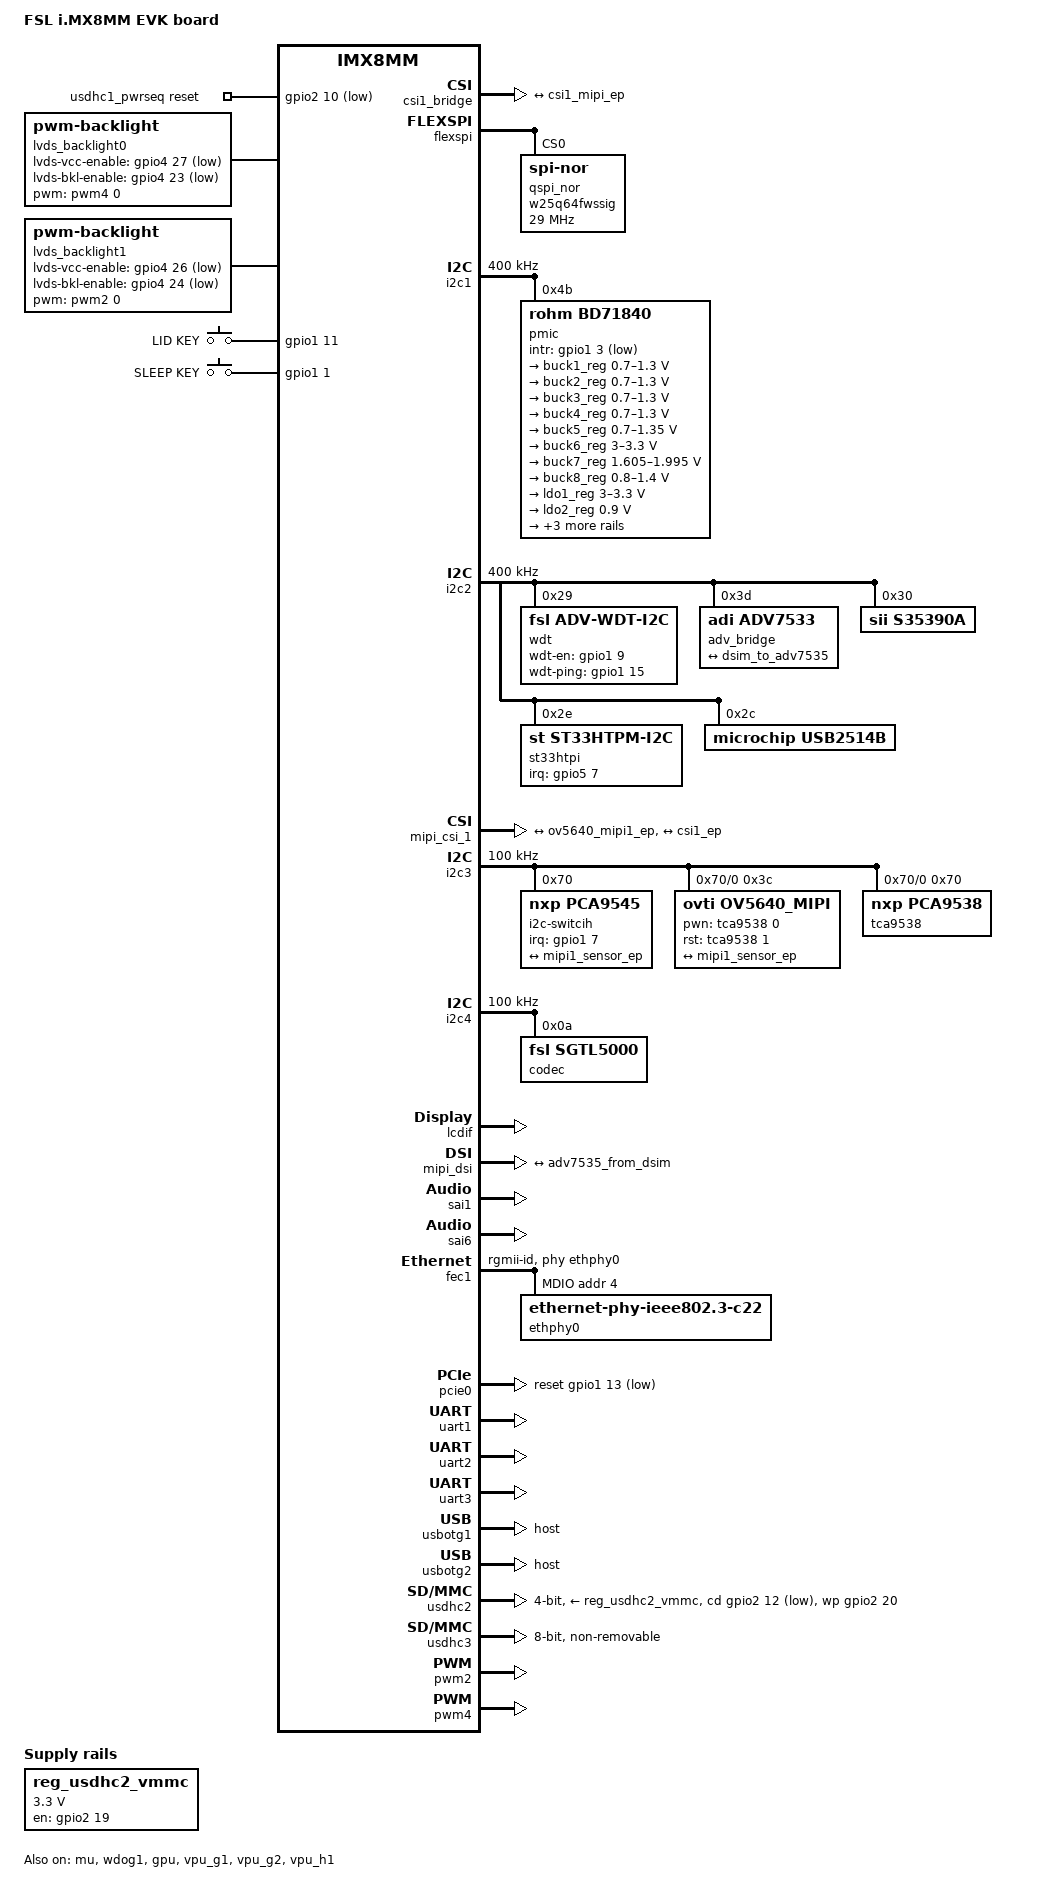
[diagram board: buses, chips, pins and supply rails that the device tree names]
/*
 * Copyright 2018 NXP
 *
 * This program is free software; you can redistribute it and/or
 * modify it under the terms of the GNU General Public License
 * as published by the Free Software Foundation; either version 2
 * of the License, or (at your option) any later version.
 *
 * This program is distributed in the hope that it will be useful,
 * but WITHOUT ANY WARRANTY; without even the implied warranty of
 * MERCHANTABILITY or FITNESS FOR A PARTICULAR PURPOSE.  See the
 * GNU General Public License for more details.
 */

/dts-v1/;

#include "fsl-imx8mm.dtsi"

/ {
	model = "FSL i.MX8MM EVK board";
	compatible = "fsl,imx8mm-evk", "fsl,imx8mm";

	chosen {
		bootargs = "console=ttymxc1,115200 earlycon=ec_imx6q,0x30890000,115200";
		stdout-path = &uart2;
	};

        usdhc1_pwrseq: usdhc1_pwrseq {
                compatible = "mmc-pwrseq-simple";
                pinctrl-names = "default";
                pinctrl-0 = <&pinctrl_usdhc1_gpio>;
                reset-gpios = <&gpio2 10 GPIO_ACTIVE_LOW>;
        };

	lvds_backlight0: lvds_backlight@0 {
                compatible = "pwm-backlight";
                pwms = <&pwm4 0 1000000 0>;
                brightness-levels = < 0  1  2  3  4  5  6  7  8  9
                             10 11 12 13 14 15 16 17 18 19
                             20 21 22 23 24 25 26 27 28 29
                             30 31 32 33 34 35 36 37 38 39
                             40 41 42 43 44 45 46 47 48 49
                             50 51 52 53 54 55 56 57 58 59
                             60 61 62 63 64 65 66 67 68 69
                             70 71 72 73 74 75 76 77 78 79
                             80 81 82 83 84 85 86 87 88 89
                             90 91 92 93 94 95 96 97 98 99
                            100>;
                default-brightness-level = <80>;
        };

	lvds_backlight1: lvds_backlight@1 {
                compatible = "pwm-backlight";
                pwms = <&pwm2 0 1000000 0>;
                brightness-levels = < 0  1  2  3  4  5  6  7  8  9
                             10 11 12 13 14 15 16 17 18 19
                             20 21 22 23 24 25 26 27 28 29
                             30 31 32 33 34 35 36 37 38 39
                             40 41 42 43 44 45 46 47 48 49
                             50 51 52 53 54 55 56 57 58 59
                             60 61 62 63 64 65 66 67 68 69
                             70 71 72 73 74 75 76 77 78 79
                             80 81 82 83 84 85 86 87 88 89
                             90 91 92 93 94 95 96 97 98 99
                            100>;
                default-brightness-level = <80>;
        };
	regulators {
		compatible = "simple-bus";
		#address-cells = <1>;
		#size-cells = <0>;
		reg_usdhc2_vmmc: regulator-usdhc2 {
			compatible = "regulator-fixed";
			regulator-name = "VSD_3V3";
			regulator-min-microvolt = <3300000>;
			regulator-max-microvolt = <3300000>;
			gpio = <&gpio2 19 GPIO_ACTIVE_HIGH>;
			off-on-delay = <20000>;
			enable-active-high;
		};
	};

        gpio-keys {
                compatible = "gpio-keys";
                #address-cells = <1>;
                #size-cells = <0>;
                pinctrl-0 = <&pinctrl_lid_key &pinctrl_sleep_key>;
                pinctrl-names = "default";
                lid@1 {
                        label = "LID KEY";
                        gpios = <&gpio1 11 0>; /* GPIO_ACTIVE_LOW:1 */
                        linux,input-type = <1>; /* EV_KEY */
                        linux,code = <116>;     /* KEY_POWER */
                        wakeup-source;
                };
                sleep@2 {
                        label = "SLEEP KEY";
                        gpios = <&gpio1 1 0>; /* GPIO_ACTIVE_LOW:1 */
                        linux,input-type = <1>; /* EV_KEY */
                        linux,code = <116>;     /* KEY_POWER */
                        wakeup-source;
                };
        };
};

&clk {
	assigned-clocks = <&clk IMX8MM_AUDIO_PLL1>, <&clk IMX8MM_AUDIO_PLL2>;
	assigned-clock-rates = <786432000>, <722534400>;
};

&iomuxc {
	pinctrl-names = "default";

	imx8mm-evk {
                pinctrl_hog: hoggrp {
                        fsl,pins = <
				MX8MM_IOMUXC_GPIO1_IO05_GPIO1_IO5		0x19	/* WDT_TIME_OUT */
				MX8MM_IOMUXC_ECSPI1_SCLK_GPIO5_IO6		0x19	/* CAM1_PWR */
				MX8MM_IOMUXC_GPIO1_IO08_GPIO1_IO8		0x19	/* CAM1_RST */	
				MX8MM_IOMUXC_SPDIF_TX_GPIO5_IO3			0x19	/* GPIO11 */
				MX8MM_IOMUXC_SPDIF_EXT_CLK_GPIO5_IO5		0x19	/* GPIO5 */
				MX8MM_IOMUXC_SAI3_RXFS_GPIO4_IO28		0x19	/* RESET_OUT */	
                        >;
                };

                pinctrl_csi_clk: csi_clk_grp {
                        fsl,pins = <
                                MX8MM_IOMUXC_GPIO1_IO14_CCMSRCGPCMIX_CLKO1      0x59
                        >;
                };
/*
		pinctrl_ir_recv: ir_recv {
			fsl,pins = <
				MX8MM_IOMUXC_GPIO1_IO13_GPIO1_IO13		0x14f
			>;
		};
*/
		pinctrl_mipi_dsi_en: mipi_dsi_en {
			fsl,pins = <
				MX8MM_IOMUXC_GPIO1_IO08_GPIO1_IO8		0x16
			>;
		};
/*
		pinctrl_i2c2_synaptics_dsx_io: synaptics_dsx_iogrp {
			fsl,pins = <
				MX8MM_IOMUXC_GPIO1_IO09_GPIO1_IO9		0x19	
			>;
		};
*/
		pinctrl_fec1: fec1grp {
			fsl,pins = <
				MX8MM_IOMUXC_ENET_MDC_ENET1_MDC		0x3
				MX8MM_IOMUXC_ENET_MDIO_ENET1_MDIO	0x3
				MX8MM_IOMUXC_ENET_TD3_ENET1_RGMII_TD3	0x1f
				MX8MM_IOMUXC_ENET_TD2_ENET1_RGMII_TD2	0x1f
				MX8MM_IOMUXC_ENET_TD1_ENET1_RGMII_TD1	0x1f
				MX8MM_IOMUXC_ENET_TD0_ENET1_RGMII_TD0	0x1f
				MX8MM_IOMUXC_ENET_RD3_ENET1_RGMII_RD3	0x91
				MX8MM_IOMUXC_ENET_RD2_ENET1_RGMII_RD2	0x91
				MX8MM_IOMUXC_ENET_RD1_ENET1_RGMII_RD1	0x91
				MX8MM_IOMUXC_ENET_RD0_ENET1_RGMII_RD0	0x91
				MX8MM_IOMUXC_ENET_TXC_ENET1_RGMII_TXC	0x1f
				MX8MM_IOMUXC_ENET_RXC_ENET1_RGMII_RXC	0x91
				MX8MM_IOMUXC_ENET_RX_CTL_ENET1_RGMII_RX_CTL	0x91
				MX8MM_IOMUXC_ENET_TX_CTL_ENET1_RGMII_TX_CTL	0x1f
				MX8MM_IOMUXC_GPIO1_IO06_GPIO1_IO6		0x19	/* RGMII0_INT# */
			>;
		};

		pinctrl_flexspi0: flexspi0grp {
			fsl,pins = <
				MX8MM_IOMUXC_NAND_ALE_QSPI_A_SCLK		0x1c2
				MX8MM_IOMUXC_NAND_CE0_B_QSPI_A_SS0_B		0x82
				MX8MM_IOMUXC_NAND_DATA00_QSPI_A_DATA0		0x82
				MX8MM_IOMUXC_NAND_DATA01_QSPI_A_DATA1		0x82
				MX8MM_IOMUXC_NAND_DATA02_QSPI_A_DATA2		0x82
				MX8MM_IOMUXC_NAND_DATA03_QSPI_A_DATA3		0x82
			>;
		};
		
		pinctrl_i2c1: i2c1grp {
			fsl,pins = <
				MX8MM_IOMUXC_I2C1_SCL_I2C1_SCL			0x400001c3
				MX8MM_IOMUXC_I2C1_SDA_I2C1_SDA			0x400001c3
			>;
		};

		pinctrl_i2c2: i2c2grp {
			fsl,pins = <
				MX8MM_IOMUXC_I2C2_SCL_I2C2_SCL			0x400001c3
				MX8MM_IOMUXC_I2C2_SDA_I2C2_SDA			0x400001c3
			>;
		};

		pinctrl_i2c3: i2c3grp {
			fsl,pins = <
				MX8MM_IOMUXC_I2C3_SCL_I2C3_SCL			0x400001c3
				MX8MM_IOMUXC_I2C3_SDA_I2C3_SDA			0x400001c3
			>;
		};

		pinctrl_i2c4: i2c4grp {
			fsl,pins = <
				MX8MM_IOMUXC_I2C4_SCL_I2C4_SCL			0x400001c3	/* I2C_GP_CK */
				MX8MM_IOMUXC_I2C4_SDA_I2C4_SDA			0x400001c3	/* I2C_GP_DAT */
			>;
		};

		pinctrl_pcie0: pcie0grp {
			fsl,pins = <
				MX8MM_IOMUXC_SAI5_RXFS_GPIO3_IO19		0x41	/* PCIE_WAKE */
				MX8MM_IOMUXC_GPIO1_IO13_GPIO1_IO13		0x41	/* PCIE_RST */
			>;
		};

		pinctrl_pmic: pmicirq {
			fsl,pins = <
				MX8MM_IOMUXC_GPIO1_IO03_GPIO1_IO3		0x41
			>;
		};
/*
		pinctrl_typec1: typec1grp {
			fsl,pins = <
				MX8MM_IOMUXC_SD1_STROBE_GPIO2_IO11	0x159
			>;
		};

		pinctrl_typec2: typec2grp {
			fsl,pins = <
				MX8MM_IOMUXC_SD2_CD_B_GPIO2_IO12	0x159
			>;
		};
*/
		pinctrl_sai1: sai1grp {
			fsl,pins = <
				MX8MM_IOMUXC_SAI1_TXFS_SAI1_TX_SYNC	0xd6	/* SAI1_LRCK */
				MX8MM_IOMUXC_SAI1_TXC_SAI1_TX_BCLK	0xd6	/* SAI1_CK */
				MX8MM_IOMUXC_SAI1_TXD0_SAI1_TX_DATA0	0xd6	/* SAI1_SDOUT */
				MX8MM_IOMUXC_SAI1_RXD0_SAI1_RX_DATA0	0xd6	/* SAI1_SDIN */
			>;
		};

                pinctrl_sai1_mclk: sai1grp_mclk {
                        fsl,pins = <
				MX8MM_IOMUXC_SAI1_MCLK_SAI1_MCLK	0xd6	/* SAI1_MCLK */
                        >;
                };

		pinctrl_sai6: sai6grp {
			fsl,pins = <
				MX8MM_IOMUXC_SAI1_RXD6_SAI6_TX_SYNC	0xd6	/* SAI6_LRCK */
				MX8MM_IOMUXC_SAI1_RXD4_SAI6_TX_BCLK	0xd6	/* SAI6_CK */
				MX8MM_IOMUXC_SAI1_TXD5_SAI6_TX_DATA0	0xd6	/* SAI6_SDOUT */
				MX8MM_IOMUXC_SAI1_RXD5_SAI6_RX_DATA0	0xd6	/* SAI6_SDIN */
			>;
		};

		pinctrl_uart1: uart1grp {
			fsl,pins = <
				MX8MM_IOMUXC_SAI2_RXFS_UART1_TX 	0x140
				MX8MM_IOMUXC_SAI2_RXC_UART1_RX		0x140
			>;
		};

/*
                pinctrl_uart2: uart2grp {
                        fsl,pins = <
                                MX8MM_IOMUXC_UART2_RXD_UART2_DCE_RX     0x140
                                MX8MM_IOMUXC_UART2_TXD_UART2_DCE_TX     0x140
                        >;
                };
*/
		pinctrl_uart2: uart2grp {
			fsl,pins = <
				MX8MM_IOMUXC_SAI3_RXD_UART2_RTS_B	0x140                                  
				MX8MM_IOMUXC_SAI3_RXC_UART2_CTS_B	0x140                     
				MX8MM_IOMUXC_SAI3_TXC_UART2_TX		0x140
				MX8MM_IOMUXC_SAI3_TXFS_UART2_RX		0x140
			>;
		};

		pinctrl_uart3: uart3grp {
			fsl,pins = <
				MX8MM_IOMUXC_UART3_RXD_UART3_DCE_RX		0x140
				MX8MM_IOMUXC_UART3_TXD_UART3_DCE_TX		0x140
				MX8MM_IOMUXC_ECSPI1_SS0_UART3_DCE_RTS_B		0x140
				MX8MM_IOMUXC_ECSPI1_MISO_UART3_DCE_CTS_B	0x140
			>;
		};

		pinctrl_uart4: uart4grp {
			fsl,pins = <
				MX8MM_IOMUXC_UART4_RXD_UART4_DCE_RX	0x140
				MX8MM_IOMUXC_UART4_TXD_UART4_DCE_TX	0x140
			>;
		};

		pinctrl_usdhc1_gpio: usdhc1grpgpio {
			fsl,pins = <
				MX8MM_IOMUXC_SD1_RESET_B_GPIO2_IO10	0x41	/* WL_REG_ON */
			>;
		};

		pinctrl_usdhc1: usdhc1grp {
			fsl,pins = <
				MX8MM_IOMUXC_SD1_CLK_USDHC1_CLK		0x190
				MX8MM_IOMUXC_SD1_CMD_USDHC1_CMD		0x1d0
				MX8MM_IOMUXC_SD1_DATA0_USDHC1_DATA0	0x1d0
				MX8MM_IOMUXC_SD1_DATA1_USDHC1_DATA1	0x1d0
				MX8MM_IOMUXC_SD1_DATA2_USDHC1_DATA2	0x1d0
				MX8MM_IOMUXC_SD1_DATA3_USDHC1_DATA3	0x1d0
			>;
		};

		pinctrl_usdhc1_100mhz: usdhc1grp100mhz {
			fsl,pins = <
				MX8MM_IOMUXC_SD1_CLK_USDHC1_CLK		0x194
				MX8MM_IOMUXC_SD1_CMD_USDHC1_CMD		0x1d4
				MX8MM_IOMUXC_SD1_DATA0_USDHC1_DATA0	0x1d4
				MX8MM_IOMUXC_SD1_DATA1_USDHC1_DATA1	0x1d4
				MX8MM_IOMUXC_SD1_DATA2_USDHC1_DATA2	0x1d4
				MX8MM_IOMUXC_SD1_DATA3_USDHC1_DATA3	0x1d4
			>;
		};

		pinctrl_usdhc1_200mhz: usdhc1grp200mhz {
			fsl,pins = <
				MX8MM_IOMUXC_SD1_CLK_USDHC1_CLK		0x196
				MX8MM_IOMUXC_SD1_CMD_USDHC1_CMD		0x1d6
				MX8MM_IOMUXC_SD1_DATA0_USDHC1_DATA0	0x1d6
				MX8MM_IOMUXC_SD1_DATA1_USDHC1_DATA1	0x1d6
				MX8MM_IOMUXC_SD1_DATA2_USDHC1_DATA2	0x1d6
				MX8MM_IOMUXC_SD1_DATA3_USDHC1_DATA3	0x1d6
			>;
		};

		pinctrl_usdhc2_gpio: usdhc2grpgpio {
			fsl,pins = <
				MX8MM_IOMUXC_SD2_CD_B_GPIO2_IO12	0x159	/* SD2_CD */
				MX8MM_IOMUXC_SD2_RESET_B_GPIO2_IO19	0x41	/* SD2_PWR_EN_1V8 */
				MX8MM_IOMUXC_SD2_WP_GPIO2_IO20		0x159	/* SD2_WP */
			>;
		};

		pinctrl_usdhc2: usdhc2grp {
			fsl,pins = <
				MX8MM_IOMUXC_SD2_CLK_USDHC2_CLK		0x190
				MX8MM_IOMUXC_SD2_CMD_USDHC2_CMD		0x1d0
				MX8MM_IOMUXC_SD2_DATA0_USDHC2_DATA0	0x1d0
				MX8MM_IOMUXC_SD2_DATA1_USDHC2_DATA1	0x1d0
				MX8MM_IOMUXC_SD2_DATA2_USDHC2_DATA2	0x1d0
				MX8MM_IOMUXC_SD2_DATA3_USDHC2_DATA3	0x1d0
				MX8MM_IOMUXC_GPIO1_IO04_USDHC2_VSELECT	0x1d0
			>;
		};

		pinctrl_usdhc2_100mhz: usdhc2grp100mhz {
			fsl,pins = <
				MX8MM_IOMUXC_SD2_CLK_USDHC2_CLK		0x194
				MX8MM_IOMUXC_SD2_CMD_USDHC2_CMD		0x1d4
				MX8MM_IOMUXC_SD2_DATA0_USDHC2_DATA0	0x1d4
				MX8MM_IOMUXC_SD2_DATA1_USDHC2_DATA1	0x1d4
				MX8MM_IOMUXC_SD2_DATA2_USDHC2_DATA2	0x1d4
				MX8MM_IOMUXC_SD2_DATA3_USDHC2_DATA3	0x1d4
				MX8MM_IOMUXC_GPIO1_IO04_USDHC2_VSELECT	0x1d0
			>;
		};

		pinctrl_usdhc2_200mhz: usdhc2grp200mhz {
			fsl,pins = <
				MX8MM_IOMUXC_SD2_CLK_USDHC2_CLK		0x196
				MX8MM_IOMUXC_SD2_CMD_USDHC2_CMD		0x1d6
				MX8MM_IOMUXC_SD2_DATA0_USDHC2_DATA0	0x1d6
				MX8MM_IOMUXC_SD2_DATA1_USDHC2_DATA1	0x1d6
				MX8MM_IOMUXC_SD2_DATA2_USDHC2_DATA2	0x1d6
				MX8MM_IOMUXC_SD2_DATA3_USDHC2_DATA3	0x1d6
				MX8MM_IOMUXC_GPIO1_IO04_USDHC2_VSELECT	0x1d0
			>;
		};

		pinctrl_usdhc3: usdhc3grp {
			fsl,pins = <
				MX8MM_IOMUXC_NAND_WE_B_USDHC3_CLK		0x190	/* SD3_CLK */
				MX8MM_IOMUXC_NAND_WP_B_USDHC3_CMD		0x1d0	/* SD3_CMD */
				MX8MM_IOMUXC_NAND_DATA04_USDHC3_DATA0		0x1d0	/* SD3_DATA0 */
				MX8MM_IOMUXC_NAND_DATA05_USDHC3_DATA1		0x1d0	/* SD3_DATA1 */
				MX8MM_IOMUXC_NAND_DATA06_USDHC3_DATA2		0x1d0	/* SD3_DATA2 */
				MX8MM_IOMUXC_NAND_DATA07_USDHC3_DATA3		0x1d0	/* SD3_DATA3 */
				MX8MM_IOMUXC_NAND_RE_B_USDHC3_DATA4		0x1d0	/* SD3_DATA4 */
				MX8MM_IOMUXC_NAND_CE2_B_USDHC3_DATA5		0x1d0	/* SD3_DATA5 */
				MX8MM_IOMUXC_NAND_CE3_B_USDHC3_DATA6		0x1d0	/* SD3_DATA6 */
				MX8MM_IOMUXC_NAND_CLE_USDHC3_DATA7		0x1d0	/* SD3_DATA7 */
				MX8MM_IOMUXC_NAND_CE1_B_USDHC3_STROBE 		0x190	/* SD3_STORBE */
			>;
		};

		pinctrl_usdhc3_100mhz: usdhc3grp100mhz {
			fsl,pins = <
				MX8MM_IOMUXC_NAND_WE_B_USDHC3_CLK		0x194
				MX8MM_IOMUXC_NAND_WP_B_USDHC3_CMD		0x1d4
				MX8MM_IOMUXC_NAND_DATA04_USDHC3_DATA0		0x1d4
				MX8MM_IOMUXC_NAND_DATA05_USDHC3_DATA1		0x1d4
				MX8MM_IOMUXC_NAND_DATA06_USDHC3_DATA2		0x1d4
				MX8MM_IOMUXC_NAND_DATA07_USDHC3_DATA3		0x1d4
				MX8MM_IOMUXC_NAND_RE_B_USDHC3_DATA4		0x1d4
				MX8MM_IOMUXC_NAND_CE2_B_USDHC3_DATA5		0x1d4
				MX8MM_IOMUXC_NAND_CE3_B_USDHC3_DATA6		0x1d4
				MX8MM_IOMUXC_NAND_CLE_USDHC3_DATA7		0x1d4
				MX8MM_IOMUXC_NAND_CE1_B_USDHC3_STROBE 		0x194
			>;
		};

		pinctrl_usdhc3_200mhz: usdhc3grp200mhz {
			fsl,pins = <
				MX8MM_IOMUXC_NAND_WE_B_USDHC3_CLK		0x196
				MX8MM_IOMUXC_NAND_WP_B_USDHC3_CMD		0x1d6
				MX8MM_IOMUXC_NAND_DATA04_USDHC3_DATA0		0x1d6
				MX8MM_IOMUXC_NAND_DATA05_USDHC3_DATA1		0x1d6
				MX8MM_IOMUXC_NAND_DATA06_USDHC3_DATA2		0x1d6
				MX8MM_IOMUXC_NAND_DATA07_USDHC3_DATA3		0x1d6
				MX8MM_IOMUXC_NAND_RE_B_USDHC3_DATA4		0x1d6
				MX8MM_IOMUXC_NAND_CE2_B_USDHC3_DATA5		0x1d6
				MX8MM_IOMUXC_NAND_CE3_B_USDHC3_DATA6		0x1d6
				MX8MM_IOMUXC_NAND_CLE_USDHC3_DATA7		0x1d6
				MX8MM_IOMUXC_NAND_CE1_B_USDHC3_STROBE 		0x196
			>;
		};

		pinctrl_wdog: wdoggrp {
			fsl,pins = <
				MX8MM_IOMUXC_GPIO1_IO02_WDOG1_WDOG_B		0xc6	/* PMIC_WDOG */
			>;
		};

                pinctrl_tpm: tpm_grp {
                        fsl,pins = <
				MX8MM_IOMUXC_ECSPI1_MOSI_GPIO5_IO7		0x159	/* TPM_IRQ */
                        >;
                };

                pinctrl_i2c_switch: i2c_switch_grp {
                        fsl,pins = <
				MX8MM_IOMUXC_GPIO1_IO07_GPIO1_IO7		0x159	/* I2C_INT */
                        >;
                };

                pinctrl_usbotg: usbotggrp {
                        fsl,pins = <
				MX8MM_IOMUXC_GPIO1_IO10_GPIO1_IO10		0x19	/* USB1_OTG_ID */
				MX8MM_IOMUXC_GPIO1_IO12_GPIO1_IO12		0x19	/* USB1_OTG_EN */
                        >;
                };

		pinctrl_ecspi2: ecspi2grp {
                        fsl,pins = <
				MX8MM_IOMUXC_ECSPI2_SCLK_ECSPI2_SCLK		0x82	/* ECSPI2_SCLK */
				MX8MM_IOMUXC_ECSPI2_MOSI_ECSPI2_MOSI		0x82	/* ECSPI2_MOSI */
				MX8MM_IOMUXC_ECSPI2_MISO_ECSPI2_MISO		0x82	/* ECSPI2_MISO */
				MX8MM_IOMUXC_ECSPI2_SS0_GPIO5_IO13		0x19	/* ECSPI2_SS0 */
				MX8MM_IOMUXC_SAI5_RXD0_GPIO3_IO21		0x19	/* ECSPI2_SS1 */
                        >;
                };

		pinctrl_ecspi3: ecspi3grp {
                        fsl,pins = <
				MX8MM_IOMUXC_UART1_RXD_ECSPI3_SCLK		0x82	/* ECSPI3_SCLK */
				MX8MM_IOMUXC_UART1_TXD_ECSPI3_MOSI		0x82	/* ECSPI3_MOSI */
				MX8MM_IOMUXC_UART2_RXD_ECSPI3_MISO		0x82	/* ECSPI3_MISO */
				MX8MM_IOMUXC_UART2_TXD_GPIO5_IO25		0x19	/* ECSPI3_SS0 */
				MX8MM_IOMUXC_SAI5_RXD1_GPIO3_IO22		0x19	/* ECSPI3_SS1 */
                        >;
                };

                pinctrl_battery: battery_grp {
                        fsl,pins = <
				MX8MM_IOMUXC_SAI2_TXC_GPIO4_IO25		0x19	/* BATLOW */
				MX8MM_IOMUXC_SAI3_TXD_GPIO5_IO1			0x19	/* CHARGING */
				MX8MM_IOMUXC_SAI5_MCLK_GPIO3_IO25		0x19    /* SMB_ALERT_1V8 */	
				MX8MM_IOMUXC_NAND_READY_B_GPIO3_IO16		0x19	/* CHARGER_PRSNT */
                        >;
                };

                pinctrl_lid_key: gpio_userkeygrp-1 {
                        fsl,pins = <
				MX8MM_IOMUXC_GPIO1_IO11_GPIO1_IO11		0x19	/* LID */
                        >;
                };

                pinctrl_sleep_key: gpio_userkeygrp-2 {
                        fsl,pins = <
				MX8MM_IOMUXC_GPIO1_IO01_GPIO1_IO1		0x19	/* SLEEP */
                        >;
                };

                pinctrl_wdt_en_1: wdt_engrp-1 {
                        fsl,pins = <
                                MX8MM_IOMUXC_GPIO1_IO09_GPIO1_IO9		0x19    /* WDT_EN */
                        >;
                };

                pinctrl_wdt_ping_1: wdt_pinggrp-1 {
                        fsl,pins = <
                                MX8MM_IOMUXC_GPIO1_IO15_GPIO1_IO15		0x19    /* WDOG_TRIG */
                                >;
                };

                pinctrl_wlan: wlangrp {
                        fsl,pins = <
                                MX8MM_IOMUXC_GPIO1_IO00_ANAMIX_REF_CLK_32K      0x141	/* REF_CLK_32K */
                                MX8MM_IOMUXC_SD1_DATA7_GPIO2_IO9                0x111	/* WL_WAKE_HOST */
				MX8MM_IOMUXC_SD1_DATA6_GPIO2_IO8		0x111	/* BT_WAKE_HOST */
				MX8MM_IOMUXC_SAI5_RXC_GPIO3_IO20		0x19	/* WL_PRESENT */
				
                        >;
                };

		pinctrl_pwm2: pwm2grp {
                        fsl,pins = <
                                MX8MM_IOMUXC_SPDIF_RX_PWM2_OUT         0x06	/* LCD1_BKLT_PWM */
                        >;
                };

		pinctrl_pwm4: pwm4grp {
                        fsl,pins = <
                                MX8MM_IOMUXC_SAI3_MCLK_PWM4_OUT         0x06	/* LCD0_BKLT_PWM */
                        >;
                };

		pinctrl_lvds: lvdsgrp {
                        fsl,pins = <
				MX8MM_IOMUXC_SAI5_RXD2_GPIO3_IO23	0x19	/* LVDS_STBY */
                        >;
                };

                pinctrl_ldb1: ldb1_grp {
                        fsl,pins = <
				MX8MM_IOMUXC_SAI2_MCLK_GPIO4_IO27	0x19		/* LCD0_VDD_EN */
				MX8MM_IOMUXC_SAI2_RXD0_GPIO4_IO23	0x19		/* LCD0_BKLT_EN */
                        >;
                };

                pinctrl_ldb2: ldb2_grp {
                        fsl,pins = <
				MX8MM_IOMUXC_SAI2_TXD0_GPIO4_IO26	0x19		/* LCD1_VDD_EN */
				MX8MM_IOMUXC_SAI2_TXFS_GPIO4_IO24	0x19		/* LCD1_BKLT_EN */
                        >;
                };

	};
};

&csi1_bridge {
	fsl,mipi-mode;
	status = "okay";
	port {
		csi1_ep: endpoint {
			remote-endpoint = <&csi1_mipi_ep>;
		};
	};
};

&flexspi {
	pinctrl-names = "default";
	pinctrl-0 = <&pinctrl_flexspi0>;
	status = "okay";

        qspi_nor: w25q64fwssig@0 {
                reg = <0>;
                #address-cells = <1>;
                #size-cells = <1>;
                compatible = "jedec,spi-nor", "winbond,w25q64";
                spi-max-frequency = <29000000>;
                spi-nor,quad-read = <4>;
        };
};

&i2c1 {
	clock-frequency = <400000>;
	pinctrl-names = "default";
	pinctrl-0 = <&pinctrl_i2c1>;
	status = "okay";

	pmic: bd71837@4b {
		reg = <0x4b>;
		compatible = "rohm,bd71840", "rohm,bd71837";
		/* PMIC BD71837 PMIC_nINT GPIO1_IO3 */
		pinctrl-0 = <&pinctrl_pmic>;
		gpio_intr = <&gpio1 3 GPIO_ACTIVE_LOW>;

		gpo {
			rohm,drv = <0x0C>;	/* 0b0000_1100 all gpos with cmos output mode */
		};

		regulators {
			#address-cells = <1>;
			#size-cells = <0>;

			bd71837,pmic-buck2-uses-i2c-dvs;
			bd71837,pmic-buck2-dvs-voltage = <1000000>, <900000>, <0>; /* VDD_ARM: Run-Idle */

			buck1_reg: regulator@0 {
				reg = <0>;
				regulator-compatible = "buck1";
				regulator-min-microvolt = <700000>;
				regulator-max-microvolt = <1300000>;
				regulator-boot-on;
				regulator-always-on;
				regulator-ramp-delay = <1250>;
			};

			buck2_reg: regulator@1 {
				reg = <1>;
				regulator-compatible = "buck2";
				regulator-min-microvolt = <700000>;
				regulator-max-microvolt = <1300000>;
				regulator-boot-on;
				regulator-always-on;
				regulator-ramp-delay = <1250>;
			};

			buck3_reg: regulator@2 {
				reg = <2>;
				regulator-compatible = "buck3";
				regulator-min-microvolt = <700000>;
				regulator-max-microvolt = <1300000>;
			};

			buck4_reg: regulator@3 {
				reg = <3>;
				regulator-compatible = "buck4";
				regulator-min-microvolt = <700000>;
				regulator-max-microvolt = <1300000>;
			};

			buck5_reg: regulator@4 {
				reg = <4>;
				regulator-compatible = "buck5";
				regulator-min-microvolt = <700000>;
				regulator-max-microvolt = <1350000>;
				regulator-boot-on;
				regulator-always-on;
			};

			buck6_reg: regulator@5 {
				reg = <5>;
				regulator-compatible = "buck6";
				regulator-min-microvolt = <3000000>;
				regulator-max-microvolt = <3300000>;
				regulator-boot-on;
				regulator-always-on;
			};

			buck7_reg: regulator@6 {
				reg = <6>;
				regulator-compatible = "buck7";
				regulator-min-microvolt = <1605000>;
				regulator-max-microvolt = <1995000>;
				regulator-boot-on;
				regulator-always-on;
			};

			buck8_reg: regulator@7 {
				reg = <7>;
				regulator-compatible = "buck8";
				regulator-min-microvolt = <800000>;
				regulator-max-microvolt = <1400000>;
				regulator-boot-on;
				regulator-always-on;
			};

			ldo1_reg: regulator@8 {
				reg = <8>;
				regulator-compatible = "ldo1";
				regulator-min-microvolt = <3000000>;
				regulator-max-microvolt = <3300000>;
				regulator-boot-on;
				regulator-always-on;
			};

			ldo2_reg: regulator@9 {
				reg = <9>;
				regulator-compatible = "ldo2";
				regulator-min-microvolt = <900000>;
				regulator-max-microvolt = <900000>;
				regulator-boot-on;
				regulator-always-on;
			};

			ldo3_reg: regulator@10 {
				reg = <10>;
				regulator-compatible = "ldo3";
				regulator-min-microvolt = <1800000>;
				regulator-max-microvolt = <3300000>;
				regulator-boot-on;
				regulator-always-on;
			};

			ldo4_reg: regulator@11 {
				reg = <11>;
				regulator-compatible = "ldo4";
				regulator-min-microvolt = <900000>;
				regulator-max-microvolt = <1800000>;
				regulator-boot-on;
				regulator-always-on;
			};

			ldo6_reg: regulator@13 {
				reg = <13>;
				regulator-compatible = "ldo6";
				regulator-min-microvolt = <900000>;
				regulator-max-microvolt = <1800000>;
				regulator-boot-on;
				regulator-always-on;
			};
		};
	};
};

&i2c2 {
	clock-frequency = <400000>;
	pinctrl-names = "default";
	pinctrl-0 = <&pinctrl_i2c2>;
	status = "okay";

        wdt@29 {
                compatible = "fsl,adv-wdt-i2c";
                pinctrl-names = "default";
                pinctrl-0 = <&pinctrl_wdt_en_1 &pinctrl_wdt_ping_1>;
                status = "okay";
                wdt_ping_delay = <600>;
                wdt-en = <&gpio1 9 0>;
                wdt-ping = <&gpio1 15 0>;
                reg = <0x29>;
        };

	adv_bridge: adv7535@3d {
		compatible = "adi,adv7533";
		reg = <0x3d>;
		adi,addr-cec = <0x3b>;
		adi,dsi-lanes = <4>;
		status = "okay";

		port {
			adv7535_from_dsim: endpoint {
				remote-endpoint = <&dsim_to_adv7535>;
			};
		};
	};
	s35390a: s35390a@30 {
		 compatible = "sii,s35390a";
		 reg = <0x30>;
	};


        st33htpi: st33htpi@0x2e{
                compatible = "st,st33htpm-i2c";
                reg= <0x2e>;
                pinctrl-names = "default";
                pinctrl-0 = <&pinctrl_tpm>;
                interrupt-parent = <&gpio5>;
                interrupts = <7 IRQ_TYPE_LEVEL_HIGH>;
        };

	usb2514b@2c {
                compatible = "microchip,usb2514b";
                reg = <0x2c>;
        };


/*
	typec1_ptn5110: tcpci@50 {
		compatible = "usb,tcpci";
		pinctrl-names = "default";
		pinctrl-0 = <&pinctrl_typec1>;
		reg = <0x50>;
		interrupt-parent = <&gpio2>;
		interrupts = <11 8>;
		src-pdos = <0x380190c8>;
		snk-pdos = <0x380190c8>;
		max-snk-mv = <5000>;
		max-snk-ma = <3000>;
		op-snk-mw = <10000>;
		max-snk-mw = <15000>;
		port-type = "drp";
		default-role = "sink";
		status = "disabled";
	};

	typec2_ptn5110: tcpci@52 {
		compatible = "usb,tcpci";
		pinctrl-names = "default";
		pinctrl-0 = <&pinctrl_typec2>;
		reg = <0x52>;
		interrupt-parent = <&gpio2>;
		interrupts = <12 8>;
		src-pdos = <0x380190c8>;
		snk-pdos = <0x380190c8>;
		max-snk-mv = <5000>;
		max-snk-ma = <3000>;
		op-snk-mw = <10000>;
		max-snk-mw = <15000>;
		port-type = "drp";
		default-role = "sink";
		status = "disabled";
	};
*/
};


&mipi_csi_1 {
	#address-cells = <1>;
	#size-cells = <0>;
	status = "okay";
	port {
		mipi1_sensor_ep: endpoint1 {
			remote-endpoint = <&ov5640_mipi1_ep>;
			data-lanes = <2>;
			csis-hs-settle = <13>;
			csis-clk-settle = <2>;
			csis-wclk;
		};

		csi1_mipi_ep: endpoint2 {
			remote-endpoint = <&csi1_ep>;
		};
	};
};

&i2c3 {
	clock-frequency = <100000>;
	pinctrl-names = "default";
	pinctrl-0 = <&pinctrl_i2c3>;
	status = "okay";


        i2c-switcih@70 {
                #address-cells = <1>;
                #size-cells = <0>;
                compatible = "nxp,pca9545";
                reg = <0x70>;
                pinctrl-names = "default";
                pinctrl-0 = <&pinctrl_i2c_switch>;
                interrupt-parent = <&gpio1>;
                interrupts = <7 IRQ_TYPE_LEVEL_LOW>;
		
                i2c@0 {
                        reg = <0>;
                        #address-cells = <1>;
                        #size-cells = <0>;

			ov5640_mipi: ov5640_mipi@3c {
				compatible = "ovti,ov5640_mipi";
				reg = <0x3c>;
				status = "okay";
				pinctrl-names = "default";
				pinctrl-0 = <&pinctrl_csi_clk>;
				clocks = <&clk IMX8MM_CLK_CLKO1_DIV>;
				clock-names = "csi_mclk";
				assigned-clocks = <&clk IMX8MM_CLK_CLKO1_SRC>,
						  <&clk IMX8MM_CLK_CLKO1_DIV>;
				assigned-clock-parents = <&clk IMX8MM_CLK_24M>;
				assigned-clock-rates = <0>, <24000000>;
				csi_id = <0>;
				pwn-gpios = <&tca9538 0 GPIO_ACTIVE_HIGH>;	/* GPIO0 or CAM0_PWR */
				rst-gpios = <&tca9538 1 GPIO_ACTIVE_HIGH>;	/* GPIO2 or CAM0_RST */
				mclk = <24000000>;
				mclk_source = <0>;
				port {
					ov5640_mipi1_ep: endpoint {
						remote-endpoint = <&mipi1_sensor_ep>;
					};
				};
			};
                };
                i2c@1 {
                        reg = <0>;
                        #address-cells = <1>;
                        #size-cells = <0>;
		};
                i2c@2 {
                        reg = <0>;
                        #address-cells = <1>;
                        #size-cells = <0>;
		};
                i2c@3 {
                        reg = <0>;
                        #address-cells = <1>;
                        #size-cells = <0>;
	
			tca9538: pca9538@70 {
				compatible = "nxp,pca9538";
				reg = <0x70>;
				#gpio-cells = <2>;
				gpio-controller;
			};
		};

	};

};

&i2c4 {
	clock-frequency = <100000>;
	pinctrl-names = "default";
	pinctrl-0 = <&pinctrl_i2c4>;
	status = "okay";

        codec: sgtl5000@0a {
                compatible = "fsl,sgtl5000";
                reg = <0x0a>;
                clocks = <&clk IMX8MM_CLK_SAI1_ROOT>;
                clock-names = "mclk";
                pinctrl-names = "default";
                pinctrl-0 = <&pinctrl_sai1_mclk>;

        };

};

&lcdif {
	status = "okay";
};

&mipi_dsi {
	status = "okay";

	port@1 {
		dsim_to_adv7535: endpoint {
			remote-endpoint = <&adv7535_from_dsim>;
		};
	};
};

&mu {
	status = "okay";
};

&sai1 {
	pinctrl-names = "default";
	pinctrl-0 = <&pinctrl_sai1>;
	assigned-clocks = <&clk IMX8MM_CLK_SAI1_SRC>,
			<&clk IMX8MM_CLK_SAI1_DIV>;
	assigned-clock-parents = <&clk IMX8MM_AUDIO_PLL1_OUT>;
	assigned-clock-rates = <0>, <24576000>;
	status = "okay";
};

&sai6 {
	pinctrl-names = "default";
	pinctrl-0 = <&pinctrl_sai6>;
	assigned-clocks = <&clk IMX8MM_CLK_SAI6_SRC>,
			<&clk IMX8MM_CLK_SAI6_DIV>;
	assigned-clock-parents = <&clk IMX8MM_AUDIO_PLL1_OUT>;
	assigned-clock-rates = <0>, <24576000>;
	status = "okay";
};

&fec1 {
	pinctrl-names = "default";
	pinctrl-0 = <&pinctrl_fec1>;
	phy-mode = "rgmii-id";
	phy-handle = <&ethphy0>;
	fsl,magic-packet;
	status = "okay";

	mdio {
		#address-cells = <1>;
		#size-cells = <0>;

		ethphy0: ethernet-phy@0 {
			compatible = "ethernet-phy-ieee802.3-c22";
			reg = <4>;
			at803x,led-act-blind-workaround;
			at803x,eee-okay;
			at803x,vddio-1p8v;
		};
	};
};

&pcie0{
	pinctrl-names = "default";
	pinctrl-0 = <&pinctrl_pcie0>;
//	disable-gpio = <&gpio1 5 GPIO_ACTIVE_LOW>;
	reset-gpio = <&gpio1 13 GPIO_ACTIVE_LOW>;
	ext_osc = <1>;
	status = "okay";
};

&uart1 { 
	pinctrl-names = "default";
	pinctrl-0 = <&pinctrl_uart1>;
	//assigned-clocks = <&clk IMX8MM_CLK_UART1_SRC>;
	//assigned-clock-parents = <&clk IMX8MM_SYS_PLL1_80M>;
	status = "okay";
};

&uart2 { /* A53 console */
	pinctrl-names = "default";
	pinctrl-0 = <&pinctrl_uart2>;
//	assigned-clocks = <&clk IMX8MM_CLK_UART2_SRC>;
//	assigned-clock-parents = <&clk IMX8MM_SYS_PLL1_80M>;
//	fsl,uart-has-rtscts;
	status = "okay";
};

&uart3 {
	pinctrl-names = "default";
	pinctrl-0 = <&pinctrl_uart3>;
	//assigned-clocks = <&clk IMX8MM_CLK_UART3_SRC>;
	//assigned-clock-parents = <&clk IMX8MM_SYS_PLL1_80M>;
	fsl,uart-has-rtscts;
	status = "okay";
};

&uart4 { /* M4 debug */
	pinctrl-names = "default";
	pinctrl-0 = <&pinctrl_uart4>;
//	assigned-clocks = <&clk IMX8MM_CLK_UART4_SRC>;
//	assigned-clock-parents = <&clk IMX8MM_SYS_PLL1_80M>;
	status = "disabled";
};

&usbotg1 {
        pinctrl-names = "default";
        pinctrl-0 = <&pinctrl_usbotg>;
	dr_mode = "host";
	//extcon = <0>, <&typec1_ptn5110>;
	extcon = <0>;
	picophy,pre-emp-curr-control = <3>;
	picophy,dc-vol-level-adjust = <7>;
	status = "okay";
};

&usbotg2 {
	dr_mode = "host";
	//extcon = <0>, <&typec2_ptn5110>;
	extcon = <0>;
	picophy,pre-emp-curr-control = <3>;
	picophy,dc-vol-level-adjust = <7>;
	status = "okay";
};

&usdhc1 {	/* wifi bt */
        #address-cells = <1>;
        #size-cells = <0>;
	pinctrl-0 = <&pinctrl_usdhc1>, <&pinctrl_wlan>;
	pinctrl-1 = <&pinctrl_usdhc1_100mhz>, <&pinctrl_wlan>;
	pinctrl-2 = <&pinctrl_usdhc1_200mhz>, <&pinctrl_wlan>;
        cap-power-off-card;
        mmc-pwrseq = <&usdhc1_pwrseq>;
/*
        brcmf: bcrmf@1 {
                reg = <1>;
                compatible = "brcm,bcm4329-fmac";
                interrupt-parent = <&gpio2>;
                interrupts = <9 IRQ_TYPE_LEVEL_HIGH>;
                interrupt-names = "host-wake";
        };
*/
};

&usdhc2 {
	pinctrl-names = "default", "state_100mhz", "state_200mhz";
	pinctrl-0 = <&pinctrl_usdhc2>, <&pinctrl_usdhc2_gpio>;
	pinctrl-1 = <&pinctrl_usdhc2_100mhz>, <&pinctrl_usdhc2_gpio>;
	pinctrl-2 = <&pinctrl_usdhc2_200mhz>, <&pinctrl_usdhc2_gpio>;
	cd-gpios = <&gpio2 12 GPIO_ACTIVE_LOW>;
	wp-gpios = <&gpio2 20 GPIO_ACTIVE_HIGH>;
	bus-width = <4>;
	vmmc-supply = <&reg_usdhc2_vmmc>;
	status = "okay";
};

&usdhc3 {
	pinctrl-names = "default", "state_100mhz", "state_200mhz";
	pinctrl-0 = <&pinctrl_usdhc3>;
	pinctrl-1 = <&pinctrl_usdhc3_100mhz>;
	pinctrl-2 = <&pinctrl_usdhc3_200mhz>;
	bus-width = <8>;
	non-removable;
	status = "okay";
};

&wdog1 {
	pinctrl-names = "default";
	pinctrl-0 = <&pinctrl_wdog>;
	fsl,ext-reset-output;
	status = "okay";
};

&A53_0 {
	arm-supply = <&buck2_reg>;
};

&gpu {
	status = "okay";
};

&vpu_g1 {
	status = "okay";
};

&vpu_g2 {
	status = "okay";
};

&vpu_h1 {
	status = "okay";
};

&ecspi2 {
        cs-gpios = <&gpio5 13 0>, <&gpio3 21 0>;
        pinctrl-names = "default";
        pinctrl-0 = <&pinctrl_ecspi2>;
        status = "disabled";

        flash0: m25p80@0 {
                #address-cells = <1>;
                #size-cells = <0>;
                compatible = "micron,n25qba16";
                spi-max-frequency = <20000000>;
                reg = <0>;
        };
        flash1: m25p80@1 {
                #address-cells = <1>;
                #size-cells = <0>;
                compatible = "micron,n25qba16";
                spi-max-frequency = <20000000>;
                reg = <1>;
        };
};

&ecspi3 {
        cs-gpios = <&gpio5 25 0>, <&gpio3 22 0>;
        pinctrl-names = "default";
        pinctrl-0 = <&pinctrl_ecspi3>;
        status = "disabled";

        flash2: m25p80@0 {
                #address-cells = <1>;
                #size-cells = <0>;
                compatible = "micron,n25qba16";
                spi-max-frequency = <20000000>;
                reg = <0>;
        };
        flash3: m25p80@1 {
                #address-cells = <1>;
                #size-cells = <0>;
                compatible = "micron,n25qba16";
                spi-max-frequency = <20000000>;
                reg = <1>;
        };
};

&pwm2 {
        status = "okay";
        pinctrl-names = "default";
        pinctrl-0 = <&pinctrl_pwm2>;
};

&pwm4 {
        status = "okay";
        pinctrl-names = "default";
        pinctrl-0 = <&pinctrl_pwm4>;
};

&lvds_backlight0 {
        pinctrl-names = "default";
        pinctrl-0 = <&pinctrl_ldb1>;
        lvds-vcc-enable = <&gpio4 27 1>;
        lvds-bkl-enable = <&gpio4 23 1>;
        status = "okay";
};

&lvds_backlight1 {
        pinctrl-names = "default";
        pinctrl-0 = <&pinctrl_ldb2>;
        lvds-vcc-enable = <&gpio4 26 1>;
        lvds-bkl-enable = <&gpio4 24 1>;
        status = "okay";
};
